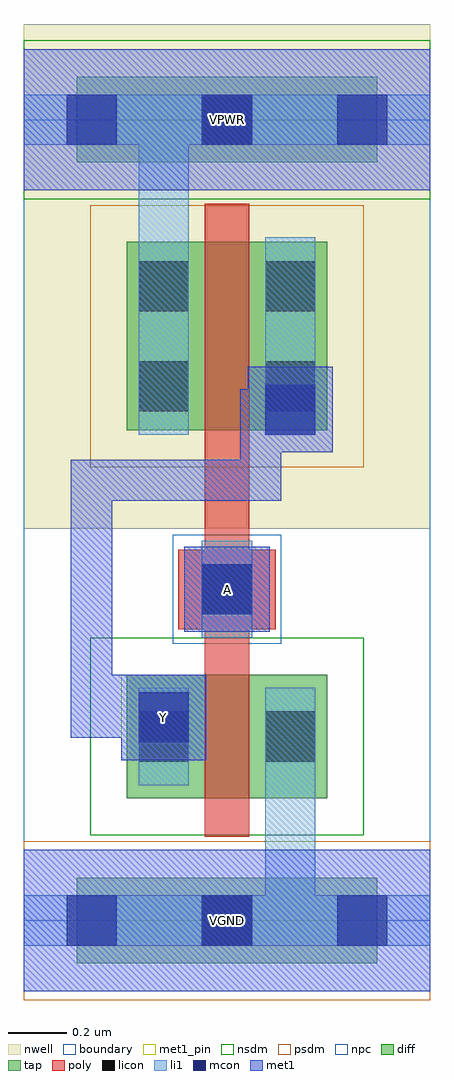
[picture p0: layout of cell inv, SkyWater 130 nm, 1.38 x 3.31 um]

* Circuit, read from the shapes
.subckt inv A VGND VPWR Y
XM1 VGND A Y VGND sky130_fd_pr__nfet_01v8 w=0.42 l=0.15
XM2 Y A VPWR VPWR sky130_fd_pr__pfet_01v8 w=0.64 l=0.15
.ends

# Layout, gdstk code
import gdstk
lib = gdstk.Library(unit=1e-6, precision=1e-09)
def R(c, l, rs):  # rectangles x0, y0, x1, y1
    for r in rs: c.add(gdstk.rectangle(r[:2], r[2:], *l))
def A(c, l, x, y, w, h, nx, ny, dx, dy):  # array of equal rectangles
    R(c, l, [(x+i*dx, y+j*dy, x+i*dx+w, y+j*dy+h) for i in range(nx) for j in range(ny)])
nwell = (64, 20)
diff = (65, 20)
tap = (65, 44)
poly = (66, 20)
licon = (66, 44)
li1 = (67, 20)
mcon = (67, 44)
met1_pin = (68, 16)
met1 = (68, 20)
nsdm = (93, 44)
psdm = (94, 20)
npc = (95, 20)
boundary = (235, 4)

inv = lib.new_cell('inv')
R(inv, nwell, [(0,1.33,1.38,3.045)])
R(inv, diff, [(0.35,0.415,1.03,0.835), (0.35,1.665,1.03,2.305)])
R(inv, tap, [(0.18,-0.145,1.2,0.145), (0.18,2.575,1.2,2.865)])
R(inv, poly, [(0.615,0.285,0.765,2.435), (0.525,0.99,0.855,1.26)])
R(inv, licon, [(0.605,-0.085,0.775,0.085), (0.39,0.54,0.56,0.71), (0.82,0.54,0.99,0.71), (0.605,1.04,0.775,1.21), (0.39,1.73,0.56,1.9), (0.82,1.73,0.99,1.9), (0.39,2.07,0.56,2.24), (0.82,2.07,0.99,2.24), (0.605,2.635,0.775,2.805)])
R(inv, li1, [(0,-0.085,1.38,0.085), (0.82,-0.085,0.99,0.79), (0.39,0.46,0.56,0.79), (0.82,0.46,0.99,0.79), (0.605,0.96,0.775,1.29), (0.39,1.65,0.56,2.32), (0.39,1.65,0.56,2.805), (0.82,1.65,0.99,2.32), (0,2.635,1.38,2.805)])
A(inv, mcon, 0.145, -0.085, 0.17, 0.17, 3, 2, 0.46, 2.72)
R(inv, mcon, [(0.39,0.605,0.56,0.775), (0.605,1.04,0.775,1.21), (0.82,1.65,0.99,1.82)])
R(inv, met1_pin, [(0,-0.24,1.38,0.24), (0.33,0.545,0.62,0.835), (0.545,0.98,0.835,1.27), (0,2.48,1.38,2.96)])
R(inv, met1, [(0,-0.24,1.38,0.24), (0.33,0.545,0.62,0.835), (0.16,0.62,0.415,0.76), (0.16,0.62,0.3,1.565), (0.275,0.62,0.545,0.76), (0.3,0.62,0.33,0.835), (0.545,0.98,0.835,1.27), (0.16,1.425,0.875,1.565), (0.735,1.425,0.875,1.68), (0.735,1.54,0.875,1.805), (0.76,1.59,1.05,1.88), (0.735,1.665,0.975,1.805), (0,2.48,1.38,2.96)])
R(inv, nsdm, [(0.225,0.29,1.155,0.96), (0,2.45,1.38,2.99)])
R(inv, psdm, [(0,-0.27,1.38,0.27), (0.225,1.54,1.155,2.43)])
R(inv, npc, [(0.505,0.94,0.875,1.31)])
R(inv, boundary, [(0,0,1.38,2.72)])
inv.add(gdstk.Label('A', (0.69,1.125), layer=68, texttype=5))
inv.add(gdstk.Label('Y', (0.475,0.69), layer=68, texttype=5))
inv.add(gdstk.Label('VPWR', (0.69,2.72), layer=68, texttype=5))
inv.add(gdstk.Label('VGND', (0.69,0), layer=68, texttype=5))
inv.add(gdstk.Label('A', (0.69,1.125), layer=68, texttype=16))
inv.add(gdstk.Label('Y', (0.475,0.69), layer=68, texttype=16))
inv.add(gdstk.Label('VPWR', (0.69,2.72), layer=68, texttype=16))
inv.add(gdstk.Label('VGND', (0.69,0), layer=68, texttype=16))

lib.write_gds('inv.gds')
